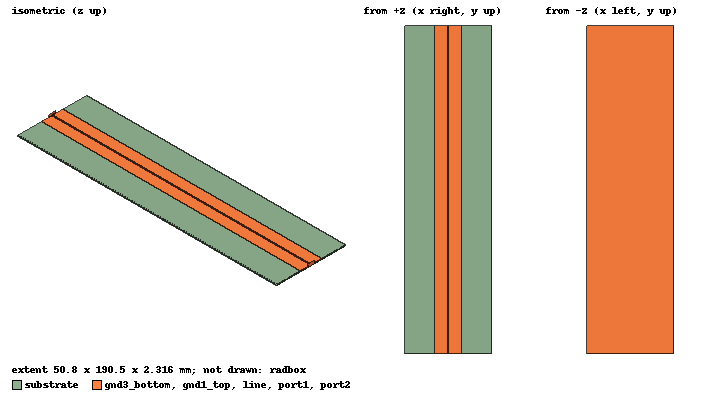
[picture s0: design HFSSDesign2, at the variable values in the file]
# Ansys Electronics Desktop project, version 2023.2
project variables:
  $w_lin = 0.53789169mm  # optimise 0.52mm..1.56mm
  $d = 0.11434763mm  # optimise 0.2mm..0.6mm
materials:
  vacuum: permittivity=1
  FR4_epoxy: permittivity=4.4 dielectric_loss_tangent=0.02
  air: permittivity=1.0006 permeability=1.0000004
  rhodium: conductivity=22200000
  Rogers RO4350 (tm): permittivity=3.66 dielectric_loss_tangent=0.004
  copper: permeability=0.999991 conductivity=58000000

design HFSSDesign2 (HFSS, HFSS Modal Network, model units mm)
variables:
  w = 50.8mm
  l = 190.5mm
  h_sub = 0.508mm
  h_gnd3 = 0.03556mm
  w_lin = 1.04mm
  h_sig = 0.03556mm
  w_gnd_top = 7.5mm
  h_ges = h_gnd3+h_sig+h_sub
  pos_gnd1 = w/2-$w_lin/2-$d-w_gnd_top
  pos_lin = w/2-$w_lin/2
  pos_gnd2 = w/2+$w_lin/2+$d
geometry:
  radbox [air] = box(corner=(-15mm, 0mm, -15mm), size=(w+30mm, l, h_ges+30mm))
  gnd3_bottom [copper] = box(corner=(0mm, 0mm, 0mm), size=(w, l, h_gnd3))
  substrate [Rogers RO4350 (tm)] = box(corner=(0mm, 0mm, h_gnd3), size=(w, l, h_sub))
  line [copper] = box(corner=(pos_lin, 0mm, h_gnd3+h_sub), size=($w_lin, l, h_sig))
  gnd1_top [copper] = box(corner=(pos_gnd1, 0mm, h_gnd3+h_sub), size=(w_gnd_top, l, h_sig))
  gnd2_top = box(corner=(pos_gnd2, 0mm, h_gnd3+h_sub), size=(w_gnd_top, l, h_sig))
  port1 = rectangle(corner=(w/2-$w_lin*5, 0mm, 0mm), z_size=h_ges*4, x_size=$w_lin*10)
  port2 = rectangle(corner=(w/2-$w_lin*5, l, 0mm), z_size=h_ges*4, x_size=$w_lin*10)
  gnd1_top.unite(gnd2_top)
  via1 [copper] = cylinder(axis=Z, base_centre=(23.32mm, 2mm, h_gnd3), radius=0.2mm, height=h_sub)
  via1_1..via1_78 [copper] = via1.duplicate_along_line(step=(0mm, 2.4mm, 0mm), total=300)  # copies kept: 1..78
  via2 [copper] = cylinder(axis=Z, base_centre=(27.48mm, 2mm, h_gnd3), radius=0.2mm, height=h_sub)
  via2_1..via2_78 [copper] = via2.duplicate_along_line(step=(0mm, 2.4mm, 0mm), total=79)
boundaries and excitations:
  Rad1: Radiation Objects=radbox
  1: Wave Port Objects=port1 WavePortType=Modal NumModes=1 Modes{Mode1{CharImp=Zpi RenormImp=50ohm}}
  2: Wave Port Objects=port2 WavePortType=Modal NumModes=1 Modes{Mode1{CharImp=Zpi RenormImp=50ohm}}
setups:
  Setup1: HfssDriven Frequency=10GHz MaxDeltaS=0.02 MaximumPasses=20 MinimumPasses=1 MinimumConvergedPasses=1 PercentRefinement=30 BasisOrder=1 PortAccuracy=2 DrivenSolverType="Direct Solver"
    sweep Sweep_fast: 10GHz to 20GHz step 0.3GHz; Type=Discrete
    sweep Sweep: 1GHz to 20GHz step 0.1GHz; Type=Discrete
    sweep Sweep_fine: 0.01GHz to 20GHz step 0.01GHz; Type=Discrete
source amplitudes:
  1:1: 1W 0deg
  2:1: 0W 0deg
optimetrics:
  Optimization Newton: Optimization Optimizer="Quasi Newton" AnalysisStopOptions{StopForNumIteration MaxNumIteration=1000 MinNumIteration=10} CostFuncNormType=L2 Acceptable_Cost=0 Noise=0.0001 UpdateDesignWhenDone
    vary $d: Min=0.1mm Max=0.6mm MinStep=0.004mm MaxStep=0.04mm MinFocus=0.2mm MaxFocus=0.6mm start=0.125mm
    vary $w_lin: Min=0.3556mm Max=1.56mm MinStep=0.0104mm MaxStep=0.104mm MinFocus=0.52mm MaxFocus=1.56mm start=0.56704mm
    goal dB(S(1,1)) <= -30 weight 1 on Setup1 : Sweep_fast at Freq 1GHz to 20GHz
    goal dB(S(2,2)) <= -30 weight 1 on Setup1 : Sweep_fast at Freq 1GHz to 20GHz
  Optimization Random: Optimization Optimizer="Genetic Algorithm" AnalysisStopOptions{StopForNumIteration MaxNumIteration=32 MinNumIteration=10} CostFuncNormType=L2 GAOptions{NumParents=30 ProportionOfParentSelProb=10 MatingPoolSize=30 NumChildren=30 NumParetoSurvivors=10 PopulationSize=30 RouletteSurvivorSelection ProportionOfSurvivorSelProb=10 CrossoverScheme=3 CrossoverProbability=1 VariableCrossoverProbability=1 VariableExchangeProbability=0 MuCross=1 GammaCross=0.5 NumMatingParents=2 MutationDistribution=2 UniformMutationProbability=0 MutationProbability=1 VariableMutationProbability=1 SigmaMut=0.05 SimplexMirrorProbability=0.1 MuMut=10} Acceptable_Cost=0 Noise=0.0001 UpdateDesignWhenDone
    vary $d: Min=0.1mm Max=0.4mm MinStep=0.004mm MaxStep=0.04mm MinFocus=0.2mm MaxFocus=0.4mm start=0.3mm
    vary $w_lin: Min=0.5mm Max=1.4mm MinStep=0.0104mm MaxStep=0.104mm MinFocus=0.5mm MaxFocus=1.4mm start=0.75mm
    goal dB(S(1,1)) <= -20 weight 1 on Setup1 : Sweep_fast at Freq 10GHz to 19.9GHz
    goal dB(S(2,2)) <= -20 weight 1 on Setup1 : Sweep_fast at Freq 10GHz to 19.9GHz
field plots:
  Mag_E1: E Field in substrate on Setup1 : LastAdaptive at Freq=10GHz Phase=0deg
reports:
  S Parameter Plot 1: dB(S(1,1)), dB(S(2,1)), dB(S(1,2)), dB(S(2,2)) vs Freq on Setup1 : Sweep [w_gnd_top=all]
  Port Zo Plot 1: mag(Zo(1)), mag(Zo(2)) vs Freq on Setup1 : Sweep [w_gnd_top=all]
  S Parameter Plot fine: dB(S(1,1)), dB(S(2,1)), dB(S(1,2)), dB(S(2,2)) vs Freq on Setup1 : Sweep_fine [w_gnd_top=all]; markers m1 at 19.99GHz, m2 at 19.7GHz
